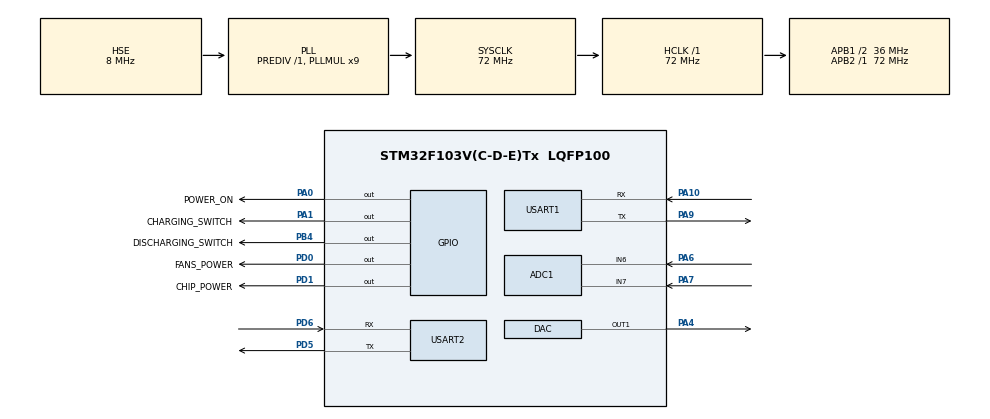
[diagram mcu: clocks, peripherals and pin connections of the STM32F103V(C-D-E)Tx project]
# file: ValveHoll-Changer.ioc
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ADC1.Channel-0\#ChannelRegularConversion=ADC_CHANNEL_6
ADC1.Channel-1\#ChannelRegularConversion=ADC_CHANNEL_7
ADC1.ContinuousConvMode=ENABLE
ADC1.EnableAnalogWatchDog=false
ADC1.NbrOfConversion=2
ADC1.NbrOfConversionFlag=1
ADC1.Rank-0\#ChannelRegularConversion=1
ADC1.Rank-1\#ChannelRegularConversion=2
ADC1.SamplingTime-0\#ChannelRegularConversion=ADC_SAMPLETIME_41CYCLES_5
ADC1.SamplingTime-1\#ChannelRegularConversion=ADC_SAMPLETIME_55CYCLES_5
ADC1.master=1
Dma.ADC1.0.Direction=DMA_PERIPH_TO_MEMORY
Dma.ADC1.0.Instance=DMA1_Channel1
Dma.ADC1.0.MemDataAlignment=DMA_MDATAALIGN_WORD
Dma.ADC1.0.MemInc=DMA_MINC_ENABLE
Dma.ADC1.0.Mode=DMA_CIRCULAR
Dma.ADC1.0.PeriphDataAlignment=DMA_PDATAALIGN_WORD
Dma.ADC1.0.PeriphInc=DMA_PINC_DISABLE
Dma.ADC1.0.Priority=DMA_PRIORITY_VERY_HIGH
Dma.Request0=ADC1
Dma.Request1=USART2_TX
Dma.Request2=USART2_RX
Dma.Request3=USART1_RX
Dma.Request4=USART1_TX
Dma.USART1_RX.3.Direction=DMA_PERIPH_TO_MEMORY
Dma.USART1_RX.3.Instance=DMA1_Channel5
Dma.USART1_RX.3.MemDataAlignment=DMA_MDATAALIGN_BYTE
Dma.USART1_RX.3.MemInc=DMA_MINC_ENABLE
Dma.USART1_RX.3.Mode=DMA_NORMAL
Dma.USART1_RX.3.PeriphDataAlignment=DMA_PDATAALIGN_BYTE
Dma.USART1_RX.3.PeriphInc=DMA_PINC_DISABLE
Dma.USART1_RX.3.Priority=DMA_PRIORITY_MEDIUM
Dma.USART1_TX.4.Direction=DMA_MEMORY_TO_PERIPH
Dma.USART1_TX.4.Instance=DMA1_Channel4
Dma.USART1_TX.4.MemDataAlignment=DMA_MDATAALIGN_BYTE
Dma.USART1_TX.4.MemInc=DMA_MINC_ENABLE
Dma.USART1_TX.4.Mode=DMA_NORMAL
Dma.USART1_TX.4.PeriphDataAlignment=DMA_PDATAALIGN_BYTE
Dma.USART1_TX.4.PeriphInc=DMA_PINC_DISABLE
Dma.USART1_TX.4.Priority=DMA_PRIORITY_MEDIUM
Dma.USART2_RX.2.Direction=DMA_PERIPH_TO_MEMORY
Dma.USART2_RX.2.Instance=DMA1_Channel6
Dma.USART2_RX.2.MemDataAlignment=DMA_MDATAALIGN_BYTE
Dma.USART2_RX.2.MemInc=DMA_MINC_ENABLE
Dma.USART2_RX.2.Mode=DMA_NORMAL
Dma.USART2_RX.2.PeriphDataAlignment=DMA_PDATAALIGN_BYTE
Dma.USART2_RX.2.PeriphInc=DMA_PINC_DISABLE
Dma.USART2_RX.2.Priority=DMA_PRIORITY_HIGH
Dma.USART2_TX.1.Direction=DMA_MEMORY_TO_PERIPH
Dma.USART2_TX.1.Instance=DMA1_Channel7
Dma.USART2_TX.1.MemDataAlignment=DMA_MDATAALIGN_BYTE
Dma.USART2_TX.1.MemInc=DMA_MINC_ENABLE
Dma.USART2_TX.1.Mode=DMA_NORMAL
Dma.USART2_TX.1.PeriphDataAlignment=DMA_PDATAALIGN_BYTE
Dma.USART2_TX.1.PeriphInc=DMA_PINC_DISABLE
Dma.USART2_TX.1.Priority=DMA_PRIORITY_HIGH
IWDG.Prescaler=IWDG_PRESCALER_256
IWDG.Reload=256
Mcu.Family=STM32F1
Mcu.Name=STM32F103V(C-D-E)Tx
Mcu.Package=LQFP100
NVIC.DMA1_Channel1_IRQn=true\:1\:0\:true\:false\:true\:false\:true
NVIC.DMA1_Channel4_IRQn=true\:1\:0\:true\:false\:true\:false\:true
NVIC.DMA1_Channel5_IRQn=true\:1\:0\:true\:false\:true\:false\:true
NVIC.DMA1_Channel6_IRQn=true\:1\:0\:true\:false\:true\:false\:true
NVIC.DMA1_Channel7_IRQn=true\:1\:0\:true\:false\:true\:false\:true
NVIC.PriorityGroup=NVIC_PRIORITYGROUP_3
NVIC.TIM1_UP_IRQn=true\:2\:0\:true\:false\:true\:true\:true
NVIC.USART1_IRQn=true\:3\:1\:true\:false\:true\:true\:true
NVIC.USART2_IRQn=true\:3\:0\:true\:false\:true\:true\:true
OSC_IN.Mode=HSE-External-Oscillator
OSC_IN.Signal=RCC_OSC_IN
OSC_OUT.Mode=HSE-External-Oscillator
OSC_OUT.Signal=RCC_OSC_OUT
PA0-WKUP.GPIO_Label=POWER_ON
PA0-WKUP.GPIO_Speed=GPIO_SPEED_FREQ_LOW
PA0-WKUP.PinState=GPIO_PIN_RESET
PA0-WKUP.Signal=GPIO_Output
PA1.GPIO_Label=CHARGING_SWITCH
PA1.Signal=GPIO_Output
PA10.Mode=Asynchronous
PA10.Signal=USART1_RX
PA13.Mode=Serial_Wire
PA13.Signal=SYS_JTMS-SWDIO
PA14.Mode=Serial_Wire
PA14.Signal=SYS_JTCK-SWCLK
PA4.Signal=COMP_DAC1_group
PA6.Signal=ADCx_IN6
PA7.Signal=ADCx_IN7
PA9.Mode=Asynchronous
PA9.Signal=USART1_TX
PB4.GPIO_Label=DISCHARGING_SWITCH
PB4.Signal=GPIO_Output
PC14-OSC32_IN.Mode=LSE-External-Oscillator
PC14-OSC32_IN.Signal=RCC_OSC32_IN
PC15-OSC32_OUT.Mode=LSE-External-Oscillator
PC15-OSC32_OUT.Signal=RCC_OSC32_OUT
PD0.GPIO_Label=FANS_POWER
PD0.Signal=GPIO_Output
PD1.GPIO_Label=CHIP_POWER
PD1.GPIO_Speed=GPIO_SPEED_FREQ_HIGH
PD1.Signal=GPIO_Output
PD5.Mode=Asynchronous
PD5.Signal=USART2_TX
PD6.Mode=Asynchronous
PD6.Signal=USART2_RX
ProjectManager.HeapSize=0x2000
ProjectManager.StackSize=0x2000
ProjectManager.TargetToolchain=MDK-ARM V5.27
RCC.ADCPresc=RCC_ADCPCLK2_DIV6
RCC.AHBFreq_Value=72000000
RCC.APB1CLKDivider=RCC_HCLK_DIV2
RCC.APB1Freq_Value=36000000
RCC.APB1TimFreq_Value=72000000
RCC.APB2Freq_Value=72000000
RCC.APB2TimFreq_Value=72000000
RCC.HCLKFreq_Value=72000000
RCC.PLLMUL=RCC_PLL_MUL9
RCC.PLLSourceVirtual=RCC_PLLSOURCE_HSE
RCC.RTCClockSelection=RCC_RTCCLKSOURCE_LSE
RCC.SYSCLKFreq_VALUE=72000000
RCC.SYSCLKSource=RCC_SYSCLKSOURCE_PLLCLK
RCC.USBFreq_Value=72000000
RTC.AsynchPrediv=32767
RTC.AutoPrediv=0
RTC.Format=RTC_FORMAT_BIN
RTC.Hours=12
RTC.Minutes=20
RTC.Seconds=20
RTC.Year=20
SH.ADCx_IN6.0=ADC1_IN6,IN6
SH.ADCx_IN7.0=ADC1_IN7,IN7
SH.COMP_DAC1_group.0=DAC_OUT1,DAC_OUT1
TIM1.Period=10000-1
TIM1.Prescaler=72-1
USART1.VirtualMode=VM_ASYNC
USART2.VirtualMode=VM_ASYNC
VP_IWDG_VS_IWDG.Mode=IWDG_Activate
VP_RTC_VS_RTC_Activate.Mode=RTC_Enabled
VP_RTC_VS_RTC_Calendar.Mode=RTC_Calendar
VP_TIM1_VS_ClockSourceINT.Mode=Internal
board=custom

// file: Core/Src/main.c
/* USER CODE BEGIN Header */
/**
  ******************************************************************************
  * @file           : main.c
  * @brief          : Main program body
  ******************************************************************************
  * @attention
  *
  * <h2><center>&copy; Copyright (c) 2020 STMicroelectronics.
  * All rights reserved.</center></h2>
  *
  * This software component is licensed by ST under BSD 3-Clause license,
  * the "License"; You may not use this file except in compliance with the
  * License. You may obtain a copy of the License at:
  *                        opensource.org/licenses/BSD-3-Clause
  *
  ******************************************************************************
  */
/* USER CODE END Header */
#include "main.h"
#include "adc.h"
#include "dac.h"
#include "dma.h"
#include "iwdg.h"
#include "rtc.h"
#include "tim.h"
#include "usart.h"
#include "gpio.h"

/* USER CODE BEGIN Includes */
#include <string.h>
#include "ModbusSlave.h"
#include "mdrtuslave.h"
#if (DEBUGGING == 1U)
#include "shell_port.h"
extern char rx_data;
#endif

/* USER CODE END Includes */

/* USER CODE BEGIN PV */
timer   gTim[TIMER_EVENTS];
/* USER CODE END PV */

void SystemClock_Config(void);
/* USER CODE BEGIN PFP */
void Timer_Task(void);
void Idle_task(void);
/* USER CODE END PFP */

int main(void)
{

  /* MCU Configuration--------------------------------------------------------*/

  /* Reset of all peripherals, Initializes the Flash interface and the Systick. */
  HAL_Init();

  /* Configure the system clock */
  SystemClock_Config();

  /* Initialize all configured peripherals */
  MX_GPIO_Init();
  MX_DMA_Init();
  MX_DAC_Init();
  MX_TIM1_Init();
  MX_USART1_UART_Init();
  MX_USART2_UART_Init();
  MX_RTC_Init();
  MX_ADC1_Init();
//  MX_IWDG_Init();
  /* USER CODE BEGIN 2 */
  /*ADC calibration*/
//  HAL_ADCEx_Calibration_Start(&hadc1);
	HAL_Delay(3000);
	/*Initialize watchdog*/
#if (!DEBUGGING)
	MX_IWDG_Init();
#endif
	/*Initialize flash*/
	FLASH_Init();
	/*Turn on DMA transmission of ADC*/
	HAL_ADC_Start_DMA(&hadc1, (uint32_t *)AdcDMA_buffer, DMA_SIZE);
	/*Turn on the DAC*/
	HAL_DAC_Start(&hdac, DAC_CHANNEL_1);
	/*Start timer 1*/
	HAL_TIM_Base_Start_IT(&htim1);
	/*Initialize communication parameters*/
	CommunicationInit();
	ModbusInit();
  /*Initialize the shell interface*/
#if (DEBUGGING == 1U)
  HAL_UART_Receive_IT(&huart1, (uint8_t *)&rx_data, 1);
  User_Shell_Init();
#endif
  /* USER CODE END 2 */

  /* Infinite loop */
    while (1)
    {

    /* USER CODE BEGIN 3 */
		  Timer_Task();
		  Idle_task();
      /*ModBusdata processing*/
      mdRTU_Handler();
#if (!DEBUGGING)
		  /*feed a dog*/
      // HAL_IWDG_Refresh(&hiwdg);
#endif
    }

  /* USER CODE END 3 */
}

void SystemClock_Config(void)
{
  RCC_OscInitTypeDef RCC_OscInitStruct = {0};
  RCC_ClkInitTypeDef RCC_ClkInitStruct = {0};
  RCC_PeriphCLKInitTypeDef PeriphClkInit = {0};

  /** Initializes the RCC Oscillators according to the specified parameters
  * in the RCC_OscInitTypeDef structure.
  */
  RCC_OscInitStruct.OscillatorType = RCC_OSCILLATORTYPE_LSI|RCC_OSCILLATORTYPE_HSE
                              |RCC_OSCILLATORTYPE_LSE;
  RCC_OscInitStruct.HSEState = RCC_HSE_ON;
  RCC_OscInitStruct.HSEPredivValue = RCC_HSE_PREDIV_DIV1;
  RCC_OscInitStruct.LSEState = RCC_LSE_ON;
  RCC_OscInitStruct.HSIState = RCC_HSI_ON;
  RCC_OscInitStruct.LSIState = RCC_LSI_ON;
  RCC_OscInitStruct.PLL.PLLState = RCC_PLL_ON;
  RCC_OscInitStruct.PLL.PLLSource = RCC_PLLSOURCE_HSE;
  RCC_OscInitStruct.PLL.PLLMUL = RCC_PLL_MUL9;
  if (HAL_RCC_OscConfig(&RCC_OscInitStruct) != HAL_OK)
  {
    Error_Handler();
  }
  /** Initializes the CPU, AHB and APB buses clocks
  */
  RCC_ClkInitStruct.ClockType = RCC_CLOCKTYPE_HCLK|RCC_CLOCKTYPE_SYSCLK
                              |RCC_CLOCKTYPE_PCLK1|RCC_CLOCKTYPE_PCLK2;
  RCC_ClkInitStruct.SYSCLKSource = RCC_SYSCLKSOURCE_PLLCLK;
  RCC_ClkInitStruct.AHBCLKDivider = RCC_SYSCLK_DIV1;
  RCC_ClkInitStruct.APB1CLKDivider = RCC_HCLK_DIV2;
  RCC_ClkInitStruct.APB2CLKDivider = RCC_HCLK_DIV1;

  if (HAL_RCC_ClockConfig(&RCC_ClkInitStruct, FLASH_LATENCY_2) != HAL_OK)
  {
    Error_Handler();
  }
  PeriphClkInit.PeriphClockSelection = RCC_PERIPHCLK_RTC|RCC_PERIPHCLK_ADC;
  PeriphClkInit.RTCClockSelection = RCC_RTCCLKSOURCE_LSE;
  PeriphClkInit.AdcClockSelection = RCC_ADCPCLK2_DIV6;
  if (HAL_RCCEx_PeriphCLKConfig(&PeriphClkInit) != HAL_OK)
  {
    Error_Handler();
  }
}

/* USER CODE BEGIN 4 */
/*time slice task*/
void Timer_Task(void)
{
	for(uint8_t i = 0; i < g_TimerNumbers; i++)
	{
		if(gTim[i].execute_flag)
		{
			gTim[i].event();
			gTim[i].execute_flag = false;
		}
	}
}

/*
 *idle task
 */
void Idle_task(void)
{
#if (!DEBUGGING)
  /*Serial port 1 receives data*/
	if(rx1ReciveOver_Flag == true)
	{
  /*4G module communication is not enabled when debug interface is enabled*/

    mdhandler->portRTUPushString(mdhandler, receive1_buff, rx1Conut);
		rx1ReciveOver_Flag = false;
		memset(receive1_buff, 0, rx1Conut);
    rx1Conut = 0;
		HAL_UART_Receive_DMA(&huart1, receive1_buff, BUFFER_SIZE);
	}
#endif
	if(rx2ReciveOver_Flag == true)
	{
		DWIN_ReciveNew(receive2_buff, rx2Conut);
		DWIN_Poll();
		rx2ReciveOver_Flag = false;
		memset(receive2_buff, 0, rx2Conut);
		rx2Conut = 0;
		HAL_UART_Receive_DMA(&huart2, receive2_buff, BUFFER_SIZE);
	}
}
/* USER CODE END 4 */

void Error_Handler(void)
{
}

/************************ (C) COPYRIGHT STMicroelectronics *****END OF FILE****/
